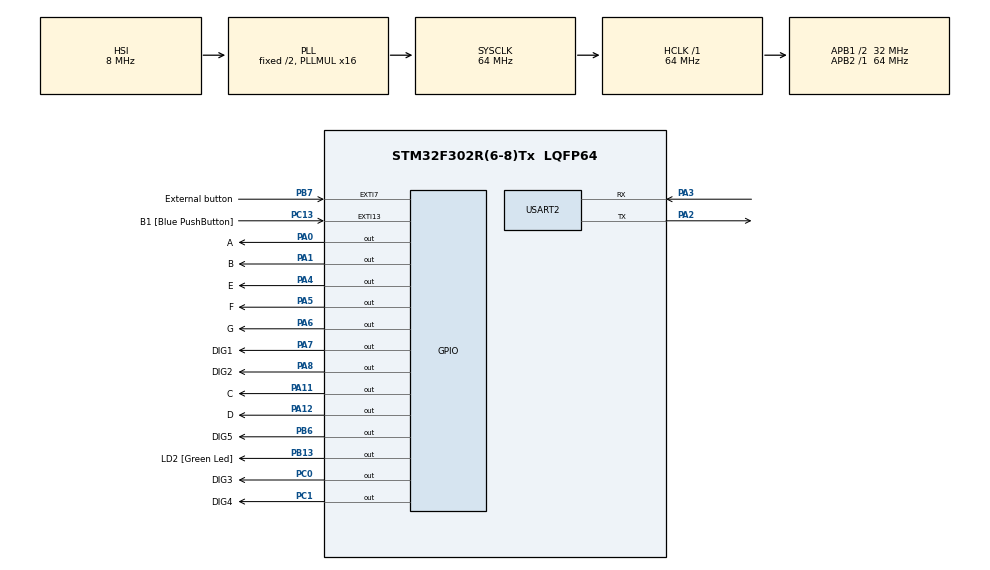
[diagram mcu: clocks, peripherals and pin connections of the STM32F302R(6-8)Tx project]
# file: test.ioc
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Mcu.Family=STM32F3
Mcu.Name=STM32F302R(6-8)Tx
Mcu.Package=LQFP64
NVIC.EXTI9_5_IRQn=true\:0\:0\:false\:false\:true\:true\:true
NVIC.PriorityGroup=NVIC_PRIORITYGROUP_0
NVIC.RTC_Alarm_IRQn=true\:0\:0\:false\:false\:true\:true\:true
NVIC.TIM2_IRQn=true\:0\:0\:false\:false\:true\:true\:true
PA0.GPIO_Label=A
PA0.Signal=GPIO_Output
PA1.GPIO_Label=B
PA1.Signal=GPIO_Output
PA11.GPIO_Label=C
PA11.Signal=GPIO_Output
PA12.GPIO_Label=D
PA12.Signal=GPIO_Output
PA13.GPIO_Label=TMS
PA13.Mode=Trace_Asynchronous_SW
PA13.Signal=SYS_JTMS-SWDIO
PA14.GPIO_Label=TCK
PA14.Mode=Trace_Asynchronous_SW
PA14.Signal=SYS_JTCK-SWCLK
PA2.Mode=Asynchronous
PA2.Signal=USART2_TX
PA3.Mode=Asynchronous
PA3.Signal=USART2_RX
PA4.GPIO_Label=E
PA4.Signal=GPIO_Output
PA5.GPIO_Label=F
PA5.Signal=GPIO_Output
PA6.GPIO_Label=G
PA6.Signal=GPIO_Output
PA7.GPIO_Label=DIG1
PA7.Signal=GPIO_Output
PA8.GPIO_Label=DIG2
PA8.Signal=GPIO_Output
PB13.GPIO_Label=LD2 [Green Led]
PB13.Signal=GPIO_Output
PB3.GPIO_Label=SWO
PB3.Mode=Trace_Asynchronous_SW
PB3.Signal=SYS_JTDO-TRACESWO
PB6.GPIO_Label=DIG5
PB6.Signal=GPIO_Output
PB7.GPIO_Label=External button
PB7.Signal=GPXTI7
PC0.GPIO_Label=DIG3
PC0.Signal=GPIO_Output
PC1.GPIO_Label=DIG4
PC1.Signal=GPIO_Output
PC13.GPIO_Label=B1 [Blue PushButton]
PC13.Signal=GPXTI13
PC14\ -\ OSC32_IN.Mode=LSE-External-Oscillator
PC14\ -\ OSC32_IN.Signal=RCC_OSC32_IN
PC15\ -\ OSC32_OUT.Mode=LSE-External-Oscillator
PC15\ -\ OSC32_OUT.Signal=RCC_OSC32_OUT
PF0-OSC_IN.Mode=HSE-External-Clock-Source
PF0-OSC_IN.Signal=RCC_OSC_IN
PF1-OSC_OUT.Signal=RCC_OSC_OUT
ProjectManager.HeapSize=0x200
ProjectManager.StackSize=0x400
ProjectManager.TargetToolchain=STM32CubeIDE
RCC.AHBFreq_Value=64000000
RCC.APB1CLKDivider=RCC_HCLK_DIV2
RCC.APB1Freq_Value=32000000
RCC.APB1TimFreq_Value=64000000
RCC.APB2Freq_Value=64000000
RCC.APB2TimFreq_Value=64000000
RCC.CortexFreq_Value=64000000
RCC.HCLKFreq_Value=64000000
RCC.HSE_VALUE=8000000
RCC.HSI_VALUE=8000000
RCC.PLLM=8
RCC.PLLMUL=RCC_PLL_MUL16
RCC.PLLN=336
RCC.PLLP=RCC_PLLP_DIV4
RCC.PLLQ=7
RCC.RCC_PLLsource_Clock_Source_FROM_HSE=RCC_HSE_PREDIV_DIV2
RCC.RTCClockSelection=RCC_RTCCLKSOURCE_LSE
RCC.SYSCLKFreq_VALUE=64000000
RCC.SYSCLKSourceVirtual=RCC_SYSCLKSOURCE_PLLCLK
RCC.USBFreq_Value=64000000
RTC.Alarm-Alarm\ A=RTC_ALARM_A
RTC.AlarmDateWeekDay-Alarm\ A=1
RTC.AlarmDateWeekDaySel-Alarm\ A=RTC_ALARMDATEWEEKDAYSEL_DATE
RTC.AlarmMaskDateWeekDay-Alarm\ A=RTC_ALARMMASK_DATEWEEKDAY
RTC.Minutes_A-Alarm\ A=5
RTC.Seconds_A-Alarm\ A=0
TIM2.AutoReloadPreload=TIM_AUTORELOAD_PRELOAD_ENABLE
TIM2.Period=2000
TIM2.Prescaler=320
TIM2.TIM_MasterOutputTrigger=TIM_TRGO_RESET
USART2.VirtualMode-Asynchronous=VM_ASYNC
VP_RTC_VS_RTC_Activate.Mode=RTC_Enabled
VP_RTC_VS_RTC_Alarm_A_Intern.Mode=Alarm A
VP_RTC_VS_RTC_Calendar.Mode=RTC_Calendar
VP_TIM2_VS_ClockSourceINT.Mode=Internal
board=NUCLEO-F302R8

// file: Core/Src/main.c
/* USER CODE BEGIN Header */
/**
 ******************************************************************************
 * @file           : main.c
 * @brief          : Main program body
 ******************************************************************************
 * @attention
 *
 * Copyright (c) 2022 STMicroelectronics.
 * All rights reserved.
 *
 * This software is licensed under terms that can be found in the LICENSE file
 * in the root directory of this software component.
 * If no LICENSE file comes with this software, it is provided AS-IS.
 *
 ******************************************************************************
 */
/* USER CODE END Header */
#include "main.h"

/* USER CODE BEGIN Includes */
#include "flash.h"

/* USER CODE END Includes */

/* USER CODE BEGIN PTD */
typedef enum
{
	init_s,
	day_set_s,
	month_set_s,
	yearunit_set_s,
	write_init_date_s,
	update_DIL_s,
	default_s
} state_t;

typedef struct{
	uint32_t Date;
	uint32_t Month;
	uint32_t Year;
} date_t;
/* USER CODE END PTD */

/* USER CODE BEGIN PD */

#define ADR_DATE 0x0800F800 //address (last page , page 31) of flash memory

#define TIM2_INTERRUPT_ENABLE(X) (TIM2->DIER = X)
#define LONG_CLICK 3
#define INTERMEDIATE_CLICK 2
#define SHORT_CLICK 1

#define RTC_ALARM_EVENT_MASK EXTI_EMR_EM17

// Button config

#define EXT_BUTTON_ITR_GROUP EXTI9_5_IRQn
#define EXT_BUTTON_ITR_MASK EXTI_IMR_IM7
#define EXT_BUTTON_EVENT_MASK EXTI_EMR_EM7
#define EXT_BUTTON_PORT GPIOB
#define EXT_BUTTON_PIN GPIO_PIN_7

// Segment display definitions
#define DIG1_PIN GPIO_PIN_7
#define DIG2_PIN GPIO_PIN_8
#define DIG3_PIN GPIO_PIN_0
#define DIG4_PIN GPIO_PIN_1
#define DIG5_PIN GPIO_PIN_6

#define DIG1_PORT GPIOA
#define DIG2_PORT GPIOA
#define DIG3_PORT GPIOC
#define DIG4_PORT GPIOC
#define DIG5_PORT GPIOB

#define ASEG_PIN GPIO_PIN_0
#define BSEG_PIN GPIO_PIN_1
#define CSEG_PIN GPIO_PIN_11
#define DSEG_PIN GPIO_PIN_12
#define ESEG_PIN GPIO_PIN_4
#define FSEG_PIN GPIO_PIN_5
#define GSEG_PIN GPIO_PIN_6

#define SEGMENT_PORT GPIOA

#define LIGHT_0 (ASEG_PIN | BSEG_PIN | CSEG_PIN | DSEG_PIN | ESEG_PIN | FSEG_PIN)
#define LIGHT_1 (BSEG_PIN | CSEG_PIN)
#define LIGHT_2 (ASEG_PIN | BSEG_PIN | DSEG_PIN | ESEG_PIN | GSEG_PIN)
#define LIGHT_3 (ASEG_PIN | BSEG_PIN | CSEG_PIN | DSEG_PIN | GSEG_PIN)
#define LIGHT_4 (BSEG_PIN | CSEG_PIN | FSEG_PIN | GSEG_PIN)
#define LIGHT_5 (ASEG_PIN | CSEG_PIN | DSEG_PIN | FSEG_PIN | GSEG_PIN)
#define LIGHT_6 (ASEG_PIN | CSEG_PIN | DSEG_PIN | ESEG_PIN | FSEG_PIN | GSEG_PIN)
#define LIGHT_7 (ASEG_PIN | BSEG_PIN | CSEG_PIN)
#define LIGHT_8 (ASEG_PIN | BSEG_PIN | CSEG_PIN | DSEG_PIN | ESEG_PIN | FSEG_PIN | GSEG_PIN)
#define LIGHT_9 (ASEG_PIN | BSEG_PIN | CSEG_PIN | DSEG_PIN | FSEG_PIN | GSEG_PIN)

//#define clk40khz
//#define debug_RTC
//#define debug_disp
#define hardware_debugger
//#define interrupt_debug
//#define rtc_alarm_debug
//#define flash_read_debug

/* USER CODE END PD */

RTC_HandleTypeDef hrtc;

TIM_HandleTypeDef htim2;

UART_HandleTypeDef huart2;

void SystemClock_Config(void);
static void MX_GPIO_Init(void);
static void MX_RTC_Init(void);
static void MX_TIM2_Init(void);
static void MX_USART2_UART_Init(void);
/* USER CODE BEGIN PFP */
void HAL_TIM_OC_DelayElapsedCallback(TIM_HandleTypeDef *htim);
void HAL_TIM_PeriodElapsedCallback(TIM_HandleTypeDef *htim);
void HAL_GPIO_EXTI_Callback(uint16_t GPIO_Pin);
static void light_digit(uint16_t digit, uint16_t num);
static uint16_t calc_DIL(date_t *date, date_t *meetup_date);
static void Configure_Sleep_Mode(uint16_t enable);
/* USER CODE END PFP */

/* USER CODE BEGIN 0 */

uint16_t debounce_val = 0;	// Helper variable for button debouncing
uint16_t sleep_mode_counter = 0;	// Helper variable for counting time till sleep
uint16_t SLEEP_MODE_ENABLE_FLAG = 0;	// Flag for enabling falling asleep (enables sleep counter)
uint16_t ENTER_SLEEPMODE_FLAG = 0;	// Flag for actually going to sleep
uint16_t click = 0;	// States (3 - LONG_CLICK, 2 - INTERMEDIATE_CLICK, 1 - SHORT_CLICK)
uint16_t shorter_click_flag = 0;	// Flag for cancelling long click after shorter time

void HAL_RTC_AlarmAEventCallback(RTC_HandleTypeDef* hrtc){
	// Calls every day
	#ifdef rtc_alarm_debug
		light_digit(2, 5);
	#endif

	// Refreshes sleep timer, wakes up and updates the day counter
	sleep_mode_counter = 0;
	ENTER_SLEEPMODE_FLAG = 0;
	Configure_Sleep_Mode(0);
	return;
}
void HAL_GPIO_EXTI_Callback(uint16_t GPIO_Pin)
{
	// Calls with button push when in sleep mode
	#ifdef interrupt_debug
		light_digit(2, 5);
	#endif

	// Refreshes sleep timer, wakes up and updates the day counter
	sleep_mode_counter = 0;
	ENTER_SLEEPMODE_FLAG = 0;
	Configure_Sleep_Mode(0);
	return;
}

static void Configure_Sleep_Mode(uint16_t enable)
{
	// Changes the behavior of button when in sleep mode
	// Sleep mode -> Button functions as GPIO interrupt
	// Normal mode -> Classic GPIO input
	GPIO_InitTypeDef GPIO_InitStruct = {0};

	if (enable)
	{
		/*Configure GPIO pin : PC13 */
		HAL_GPIO_DeInit(EXT_BUTTON_PORT, EXT_BUTTON_PIN);
		GPIO_InitStruct.Pin = EXT_BUTTON_PIN;
		GPIO_InitStruct.Mode = GPIO_MODE_IT_RISING;
		GPIO_InitStruct.Pull = GPIO_PULLDOWN;
		HAL_GPIO_Init(EXT_BUTTON_PORT, &GPIO_InitStruct);
		/* EXTI interrupt init*/
		HAL_NVIC_SetPriority(EXT_BUTTON_ITR_GROUP, 0, 0);
		HAL_NVIC_EnableIRQ(EXT_BUTTON_ITR_GROUP);

		//EXTI->IMR |= EXT_BUTTON_ITR_MASK;
		EXTI->EMR |= EXT_BUTTON_EVENT_MASK | RTC_ALARM_EVENT_MASK;

		TIM2_INTERRUPT_ENABLE(0);
		HAL_TIM_Base_Stop(&htim2);
		ENTER_SLEEPMODE_FLAG = 1;
		// SCB->SCR = SCB_SCR_SLEEPONEXIT_Pos;
		return;
	}
	SLEEP_MODE_ENABLE_FLAG = 0;
	/*Configure GPIO pin : PC13 */
	HAL_GPIO_DeInit(EXT_BUTTON_PORT, EXT_BUTTON_PIN);
	GPIO_InitStruct.Pin = EXT_BUTTON_PIN;
	GPIO_InitStruct.Mode = GPIO_MODE_INPUT;
	GPIO_InitStruct.Pull = GPIO_PULLDOWN;
	HAL_GPIO_Init(EXT_BUTTON_PORT, &GPIO_InitStruct);

	HAL_NVIC_DisableIRQ(EXT_BUTTON_ITR_GROUP);
	TIM2_INTERRUPT_ENABLE(1);
	HAL_TIM_Base_Start(&htim2);
	return;
}

void HAL_TIM_PeriodElapsedCallback(TIM_HandleTypeDef *htim)
{
	// Timer2 callback (only one used)
	if ((EXT_BUTTON_PORT->IDR &  EXT_BUTTON_PIN))
	{
		// Long click
		if (debounce_val > 1500)
		{
			click = 3;
			debounce_val = 0;
			return;
		}
		// Shorter clicks for setting the dates
		if (shorter_click_flag && debounce_val > 500){
			click = 3;
			debounce_val = 0;
			return;
		}
		debounce_val++;
		return;
	}
	// Intermediate click
	if (debounce_val > 500){
		click = 2;
		debounce_val = 0;
		return;
	}
	// Debouncer
	if (debounce_val < 10)
	{
		if (SLEEP_MODE_ENABLE_FLAG)
			sleep_mode_counter++;
		if (sleep_mode_counter > 2000)
		{
			Configure_Sleep_Mode(1);
		}
		debounce_val = 0;
		return;
	}
	// Short click (default after debouncing)
	click = 1;
	debounce_val = 0;
	return;
}

static uint16_t countLeapYears(uint8_t y, uint8_t m)
{
	uint16_t years = y;
	// Check if the current year needs to be
	//  considered for the count of leap years
	// or not
	if (m <= 2)
		years--;
	// An year is a leap year if it
	// is a multiple of 4,
	// multiple of 400 and not a
	// multiple of 100.
	return years / 4 - years / 100 + years / 400;
}

static uint16_t calc_DIL(date_t *date, date_t *meetup_date)
{
	const uint8_t month_days[12] = {31, 28, 31, 30, 31, 30,
									31, 31, 30, 31, 30, 31};
	// COUNT TOTAL NUMBER OF DAYS
	// BEFORE FIRST DATE 'dt1'
	// initialize count using years and day
	uint16_t n1 = date->Year * 365 + date->Date;
	// Add days for months in given date
	for (int i = 0; i < date->Month - 1; i++)
		n1 += month_days[i];
	// Since every leap year is of 366 days,
	// Add a day for every leap year
	n1 += countLeapYears(date->Year, date->Month);
	// SIMILARLY, COUNT TOTAL NUMBER OF
	// DAYS BEFORE 'dt2'
	uint16_t n2 = meetup_date->Year * 365 + meetup_date->Date;
	for (int i = 0; i < meetup_date->Month - 1; i++)
		n2 += month_days[i];
	n2 += countLeapYears(meetup_date->Year, meetup_date->Month);
	// return difference between two counts
	return (n1 - n2);
}

static void light_digit(uint16_t digit, uint16_t num)
{
	// All pins need to be remapped in definition above when changing layout

	// Turn off all digits
	HAL_GPIO_WritePin(DIG1_PORT, DIG1_PIN, 1);
	HAL_GPIO_WritePin(DIG2_PORT, DIG2_PIN, 1);
	HAL_GPIO_WritePin(DIG3_PORT, DIG3_PIN, 1);
	HAL_GPIO_WritePin(DIG4_PORT, DIG4_PIN, 1);
	HAL_GPIO_WritePin(DIG5_PORT, DIG5_PIN, 1);
	switch (digit)
	{
		// Turn on corresponding digit
		case 0: HAL_GPIO_WritePin(DIG1_PORT, DIG1_PIN, 0); break;
		case 1: HAL_GPIO_WritePin(DIG2_PORT, DIG2_PIN, 0); break;
		case 2: HAL_GPIO_WritePin(DIG3_PORT, DIG3_PIN, 0); break;
		case 3: HAL_GPIO_WritePin(DIG4_PORT, DIG4_PIN, 0); break;
		default: HAL_GPIO_WritePin(DIG5_PORT, DIG5_PIN, 0); break;
	}
	// Turn off all segments
	HAL_GPIO_WritePin(SEGMENT_PORT, LIGHT_8, 0);
	switch (num)
	{
		// Turn on corresponding segments
		case 0:		HAL_GPIO_WritePin(SEGMENT_PORT, LIGHT_0, 1); break;
		case 1:		HAL_GPIO_WritePin(SEGMENT_PORT, LIGHT_1, 1); break;
		case 2:		HAL_GPIO_WritePin(SEGMENT_PORT, LIGHT_2, 1); break;
		case 3:		HAL_GPIO_WritePin(SEGMENT_PORT, LIGHT_3, 1); break;
		case 4:		HAL_GPIO_WritePin(SEGMENT_PORT, LIGHT_4, 1); break;
		case 5:		HAL_GPIO_WritePin(SEGMENT_PORT, LIGHT_5, 1); break;
		case 6:		HAL_GPIO_WritePin(SEGMENT_PORT, LIGHT_6, 1); break;
		case 7:		HAL_GPIO_WritePin(SEGMENT_PORT, LIGHT_7, 1); break;
		case 8:		HAL_GPIO_WritePin(SEGMENT_PORT, LIGHT_8, 1); break;
		case 9:		HAL_GPIO_WritePin(SEGMENT_PORT, LIGHT_9, 1); break;
		case 10:	HAL_GPIO_WritePin(SEGMENT_PORT, 0, 1); break;
		default:	HAL_GPIO_WritePin(SEGMENT_PORT, LIGHT_0, 1); break;
	}
}

/* USER CODE END 0 */

int main(void)
{

  /* MCU Configuration--------------------------------------------------------*/

  /* Reset of all peripherals, Initializes the Flash interface and the Systick. */
  HAL_Init();

  /* Configure the system clock */
  SystemClock_Config();

  /* Initialize all configured peripherals */
  MX_GPIO_Init();
  MX_RTC_Init();
  MX_TIM2_Init();
  MX_USART2_UART_Init();
  /* USER CODE BEGIN 2 */
	// HAL_NVIC_EnableIRQ(TIM2_IRQn);
	TIM2_INTERRUPT_ENABLE(1);
	HAL_TIM_Base_Start(&htim2);

	// HAL_TIM_OC_Start(&htim2, TIM_CHANNEL_2);

  /* USER CODE END 2 */

  /* Infinite loop */
  /* USER CODE BEGIN WHILE */

	date_t date;	// Stands for current date
	date.Date = 1;
	date.Month = 1;
	date.Year = 0;
	RTC_DateTypeDef rtc_date;
	date_t meetup_date = {0};

	state_t cur_state = init_s;	// Main state machine state
	uint16_t digits[5];	// Variables to be displayed

	uint16_t FLASH_FLAG = 0;	// Flag for flashing all digits of display for a second
	uint16_t GET_MEETUP_DATE_FLAG = 0;	// Flag for determining if setting current or meetup date
	uint16_t GET_FIRST_DATE = 0;	// Flag for first setting of dates
	uint16_t DIL = 0;	// Variable for storing difference between dates
	uint16_t ANIVERSARY_FLAG = 0;	// Flag for lighting up display on anniversary

	uint16_t year = 1940;	// Intermediate variable for setting year
	uint16_t max_year = 0;	// Variable used to set limits for setting year

	//uint32_t fl_date[3] = {0};

	Flash_Read_Data(ADR_DATE, (uint32_t*)&meetup_date, 2);
	// Check for original (default) date
	if (meetup_date.Date == 1 && meetup_date.Month == 1 && meetup_date.Year == 40){
		GET_FIRST_DATE = 1;
	}

	#ifdef flash_read_debug
		date_t fl_date;
		fl_date.Date = 31;
		fl_date.Month = 12;
		fl_date.Year = 2033;

		Flash_Read_Data(ADR_DATE, (uint32_t*)&Rx_Data, 2);	//read 3 uin32_t number from last page of flash
		while (1){
			light_digit(1, Rx_Data.Date%10);
			HAL_Delay(500);
			light_digit(2, Rx_Data.Month%10);
			HAL_Delay(500);
			light_digit(3, Rx_Data.Year%10);
			HAL_Delay(500);
			if (click == LONG_CLICK) break;
		}
		Flash_Write_Data(ADR_DATE, (uint32_t*)&fl_date, 3); //write 3 uin32_t number from last page of flash
		Flash_Read_Data(ADR_DATE, (uint32_t*)&Rx_Data, 2);
		while (1){
			light_digit(0, Rx_Data.Date%10);
			HAL_Delay(500);
			light_digit(1, Rx_Data.Month%10);
			HAL_Delay(500);
			light_digit(2, Rx_Data.Year%10);
			HAL_Delay(500);
		}
	#endif

	#ifdef debug_disp
		while (1)
		{
			for (int i = 0; i < 5; i++)
			{
				light_digit(i+1, i+5);
				HAL_Delay(1000);
			}
		}
	#endif

	#ifdef clk40khz
		uint16_t init_DIL = 0;
	#endif

	#ifdef debug_RTC
		RTC_TimeTypeDef time = {0};
	#endif

	#ifdef interrupt_debug
		while (1);
	#endif
	#ifdef rtc_alarm_debug
		GPIOB->ODR = 0;
		GPIOA->ODR = 0;
		SCB->SCR |= SCB_SCR_SLEEPDEEP_Msk;
		__disable_irq();
		__SEV();
		__WFE();
		__WFE();
		SystemClock_Config();
		SCB->SCR &= ~SCB_SCR_SLEEPDEEP_Msk;
		__enable_irq();
		cur_state = update_DIL_s;
		while (1);
	#endif

	Configure_Sleep_Mode(0);
	while (1)
	{

		#ifdef debug_RTC

			HAL_RTC_GetTime(&hrtc, &time, RTC_FORMAT_BIN);
			HAL_RTC_GetDate(&hrtc, &rtc_date, RTC_FORMAT_BIN);

			digits[4] = time.SubSeconds % 10;
			digits[3] = time.SubSeconds / 10;
			digits[2] = time.Seconds % 10;
			digits[1] = time.Seconds / 10;

			for (int i = 0; i < 5; i++)
			{
				light_digit(i, digits[i]);
				HAL_Delay(1);
			}
			continue;
		#endif

		// Clear display (nothing is lighting up)
		for (int i = 0; i < 5; i++)
			digits[i] = 10;

		// GET_MEETUP_DATE_FLAG determines setting the meetup date vs current date

		switch (cur_state)
		{
		// Initial state -> lighting display to ones or eights depending on date setting
		case init_s:
			shorter_click_flag = 1;
		 	if (!GET_MEETUP_DATE_FLAG){
				for (int i = 0; i < 5; i++) digits[i] = 8;
			} else {
				for (int i = 0; i < 5; i++) digits[i] = 1;
			}
			if (click == LONG_CLICK)
			{
				FLASH_FLAG = 1;
				cur_state = day_set_s;
				click = 0;
			}
			break;
		// State for setting day of the month
		case day_set_s:
			shorter_click_flag = 1;
			switch (click)
			{
			case SHORT_CLICK:
				date.Date++;
				if (date.Date > 31)
					date.Date = 1;
				click = 0;
				break;
			case LONG_CLICK:
				if (GET_MEETUP_DATE_FLAG)
					meetup_date.Date = date.Date;
				cur_state = month_set_s;
				click = 0;
				FLASH_FLAG = 1;
				break;
			}
			digits[4] = date.Date % 10;
			digits[3] = date.Date / 10;
			digits[2] = 0;
			break;
		// State for setting month
		case month_set_s:
			switch (click)
			{
			case SHORT_CLICK:
				date.Month++;
				if (date.Month > 12)
					date.Month = 1;
				click = 0;
				break;
			case LONG_CLICK:
				if (GET_MEETUP_DATE_FLAG)
					meetup_date.Month = date.Month;
				cur_state = yearunit_set_s;
				click = 0;
				FLASH_FLAG = 1;
				break;
			}
			digits[4] = date.Month % 10;
			digits[3] = date.Month / 10;
			break;
		// State for configuring the year of meetup/current date
		case yearunit_set_s:
		  	// For current date you can choose between years 2022 and 2050
			// For meetup date you can choose between years 1980 and 2050
			if (GET_MEETUP_DATE_FLAG){
				year = 1980 + date.Year;
				max_year = 70;
			} else {
				year = 2022 + date.Year;
				max_year = 28;
			}
			switch (click)
			{
			case SHORT_CLICK:
				date.Year += 1;
				if (date.Year > max_year)
					date.Year = 0;
				click = 0;
				break;
			case LONG_CLICK:
				FLASH_FLAG = 1;
				cur_state = write_init_date_s;
				year += date.Year;
				date.Year = year - 1940;
				if (GET_MEETUP_DATE_FLAG)
					meetup_date.Year = date.Year;
				click = 0;
				break;
			}
			digits[4] = year % 10;
			digits[3] = (year % 100) / 10;
			digits[2] = (year % 1000) / 100;
			digits[1] = (year) / 1000;
			break;
		// Writing the configured current date to RTC
		// or the meetup date to flash memory
		case write_init_date_s:
			shorter_click_flag = 0;
			if (GET_MEETUP_DATE_FLAG)
			{
				GET_MEETUP_DATE_FLAG = 0;
				cur_state = update_DIL_s;
				Flash_Write_Data(ADR_DATE, (uint32_t*)&meetup_date, 3);
				break;
			}
			rtc_date.Date = date.Date;
			rtc_date.Month = date.Month;
			rtc_date.Year = date.Year;
			// Initialize RTC
			HAL_RTC_SetDate(&hrtc, &rtc_date, RTC_FORMAT_BIN);
			cur_state = update_DIL_s;
			// First setting of date
			if (GET_FIRST_DATE){
				click = 0;
				FLASH_FLAG = 1;
				GET_MEETUP_DATE_FLAG = 1;
				date.Date = 1;
				date.Month = 1;
				date.Year = 0;
				SLEEP_MODE_ENABLE_FLAG = 0;
				cur_state = day_set_s;
				GET_FIRST_DATE = 0;
			}
			break;
		// State for calculating the date difference
		case update_DIL_s:
			HAL_RTC_GetDate(&hrtc, &rtc_date, RTC_FORMAT_BIN);
			date.Date = rtc_date.Date;
			date.Month = rtc_date.Month;
			date.Year = rtc_date.Year;
			DIL = calc_DIL(&date, &meetup_date);
			if (date.Date == meetup_date.Date && date.Month == meetup_date.Month){
				ANIVERSARY_FLAG = 1;
			} else {
				ANIVERSARY_FLAG = 0;
			}
			FLASH_FLAG = 1;

			#ifdef clk40khz
				if (init_DIL)
				{
					DIL = init_DIL + (uint16_t)round(32.768f / 40.0f * calc_DIL(&date, &meetup_date));
				}
				else
				{
					init_DIL = calc_DIL(&date, &meetup_date);
					meetup_date = date;
				}
			#endif

			cur_state = default_s;
			break;
		// Default state
		// Waiting to fall asleep or changing of the meetup/current date
		case default_s:
			digits[4] = DIL % 10;
			digits[3] = (DIL % 100) / 10;
			digits[2] = (DIL % 1000) / 100;
			digits[1] = (DIL % 10000) / 1000;
			digits[0] = (DIL) / 10000;
			if (ANIVERSARY_FLAG){
				if (click == SHORT_CLICK){
					click = 0;
					ANIVERSARY_FLAG = 0;
					Configure_Sleep_Mode(1);
					ENTER_SLEEPMODE_FLAG = 1;
				}
				SLEEP_MODE_ENABLE_FLAG = 0;
			} else {
				SLEEP_MODE_ENABLE_FLAG = 1;
			}
			if (click == LONG_CLICK)
			{
				click = 0;
				FLASH_FLAG = 1;
				GET_MEETUP_DATE_FLAG = 1;
				date.Date = 1;
				date.Month = 1;
				date.Year = 0;
				SLEEP_MODE_ENABLE_FLAG = 0;
				cur_state = day_set_s;

				#ifdef clk40khz
					init_DIL = 0;
				#endif
			} else if (click == INTERMEDIATE_CLICK){
				click = 0;
				FLASH_FLAG = 1;
				GET_MEETUP_DATE_FLAG = 0;
				date.Date = 1;
				date.Month = 1;
				date.Year = 0;
				SLEEP_MODE_ENABLE_FLAG = 0;
				cur_state = day_set_s;

			}
			break;
		}

		// Light up display for a second
		//if (FLASH_FLAG)
		//{
		//	if (GET_MEETUP_DATE_FLAG){
		//		HAL_GPIO_WritePin(SEGMENT_PORT, LIGHT_8, 0);
		//		HAL_GPIO_WritePin(SEGMENT_PORT, LIGHT_1, 1);
		//		HAL_GPIO_WritePin(DIG1_PORT, DIG1_PIN, 0);
		//		HAL_GPIO_WritePin(DIG2_PORT, DIG2_PIN, 0);
		//		HAL_GPIO_WritePin(DIG3_PORT, DIG3_PIN, 0);
		//		HAL_GPIO_WritePin(DIG4_PORT, DIG4_PIN, 0);
		//		HAL_GPIO_WritePin(DIG5_PORT, DIG5_PIN, 0);
		//	} else {
		//		HAL_GPIO_WritePin(SEGMENT_PORT, LIGHT_8, 1);
		//		HAL_GPIO_WritePin(DIG1_PORT, DIG1_PIN, 0);
		//		HAL_GPIO_WritePin(DIG2_PORT, DIG2_PIN, 0);
		//		HAL_GPIO_WritePin(DIG3_PORT, DIG3_PIN, 0);
		//		HAL_GPIO_WritePin(DIG4_PORT, DIG4_PIN, 0);
		//		HAL_GPIO_WritePin(DIG5_PORT, DIG5_PIN, 0);
		//	}
		//	HAL_Delay(1000);
		//	// Reset wrongly registered clicks
		//	click = 0;
		//	FLASH_FLAG = 0;
		//}

		// Lighting display with digits variables
		for (int i = 0; i < 5; i++)
		{
			light_digit(i, digits[i]);
			HAL_Delay(1);
		}

		// Weird shit sleep mode config
		if (ENTER_SLEEPMODE_FLAG)
		{
			GPIOB->ODR = 0;
			GPIOA->ODR = 0;
			SCB->SCR |= SCB_SCR_SLEEPDEEP_Msk;
			__disable_irq();
			__SEV();
			__WFE();
			__WFE();
			SystemClock_Config();
			SCB->SCR &= ~SCB_SCR_SLEEPDEEP_Msk;
			__enable_irq();
			cur_state = update_DIL_s;
		}

    /* USER CODE END WHILE */

	}
}

void SystemClock_Config(void)
{
  RCC_OscInitTypeDef RCC_OscInitStruct = {0};
  RCC_ClkInitTypeDef RCC_ClkInitStruct = {0};
  RCC_PeriphCLKInitTypeDef PeriphClkInit = {0};

  /** Configure LSE Drive Capability
  */
  HAL_PWR_EnableBkUpAccess();
  __HAL_RCC_LSEDRIVE_CONFIG(RCC_LSEDRIVE_LOW);
  /** Initializes the RCC Oscillators according to the specified parameters
  * in the RCC_OscInitTypeDef structure.
  */
  RCC_OscInitStruct.OscillatorType = RCC_OSCILLATORTYPE_HSI|RCC_OSCILLATORTYPE_LSE;
  RCC_OscInitStruct.LSEState = RCC_LSE_ON;
  RCC_OscInitStruct.HSIState = RCC_HSI_ON;
  RCC_OscInitStruct.HSICalibrationValue = RCC_HSICALIBRATION_DEFAULT;
  RCC_OscInitStruct.PLL.PLLState = RCC_PLL_ON;
  RCC_OscInitStruct.PLL.PLLSource = RCC_PLLSOURCE_HSI;
  RCC_OscInitStruct.PLL.PLLMUL = RCC_PLL_MUL16;
  if (HAL_RCC_OscConfig(&RCC_OscInitStruct) != HAL_OK)
  {
    Error_Handler();
  }
  /** Initializes the CPU, AHB and APB buses clocks
  */
  RCC_ClkInitStruct.ClockType = RCC_CLOCKTYPE_HCLK|RCC_CLOCKTYPE_SYSCLK
                              |RCC_CLOCKTYPE_PCLK1|RCC_CLOCKTYPE_PCLK2;
  RCC_ClkInitStruct.SYSCLKSource = RCC_SYSCLKSOURCE_PLLCLK;
  RCC_ClkInitStruct.AHBCLKDivider = RCC_SYSCLK_DIV1;
  RCC_ClkInitStruct.APB1CLKDivider = RCC_HCLK_DIV2;
  RCC_ClkInitStruct.APB2CLKDivider = RCC_HCLK_DIV1;

  if (HAL_RCC_ClockConfig(&RCC_ClkInitStruct, FLASH_LATENCY_2) != HAL_OK)
  {
    Error_Handler();
  }
  PeriphClkInit.PeriphClockSelection = RCC_PERIPHCLK_RTC;
  PeriphClkInit.RTCClockSelection = RCC_RTCCLKSOURCE_LSE;
  if (HAL_RCCEx_PeriphCLKConfig(&PeriphClkInit) != HAL_OK)
  {
    Error_Handler();
  }
}

static void MX_RTC_Init(void)
{

  RTC_TimeTypeDef sTime = {0};
  RTC_DateTypeDef sDate = {0};
  RTC_AlarmTypeDef sAlarm = {0};

  /** Initialize RTC Only
  */
  hrtc.Instance = RTC;
  hrtc.Init.HourFormat = RTC_HOURFORMAT_24;
  hrtc.Init.AsynchPrediv = 127;
  hrtc.Init.SynchPrediv = 255;
  hrtc.Init.OutPut = RTC_OUTPUT_DISABLE;
  hrtc.Init.OutPutPolarity = RTC_OUTPUT_POLARITY_HIGH;
  hrtc.Init.OutPutType = RTC_OUTPUT_TYPE_OPENDRAIN;
  if (HAL_RTC_Init(&hrtc) != HAL_OK)
  {
    Error_Handler();
  }

  /** Initialize RTC and set the Time and Date
  */
  sTime.Hours = 0x0;
  sTime.Minutes = 0x0;
  sTime.Seconds = 0x0;
  sTime.DayLightSaving = RTC_DAYLIGHTSAVING_NONE;
  sTime.StoreOperation = RTC_STOREOPERATION_RESET;
  if (HAL_RTC_SetTime(&hrtc, &sTime, RTC_FORMAT_BCD) != HAL_OK)
  {
    Error_Handler();
  }
  sDate.WeekDay = RTC_WEEKDAY_MONDAY;
  sDate.Month = RTC_MONTH_JANUARY;
  sDate.Date = 0x1;
  sDate.Year = 0x0;

  if (HAL_RTC_SetDate(&hrtc, &sDate, RTC_FORMAT_BCD) != HAL_OK)
  {
    Error_Handler();
  }
  /** Enable the Alarm A
  */
  sAlarm.AlarmTime.Hours = 0x0;
  sAlarm.AlarmTime.Minutes = 0x5;
  sAlarm.AlarmTime.Seconds = 0x0;
  sAlarm.AlarmTime.SubSeconds = 0x0;
  sAlarm.AlarmTime.DayLightSaving = RTC_DAYLIGHTSAVING_NONE;
  sAlarm.AlarmTime.StoreOperation = RTC_STOREOPERATION_RESET;
  sAlarm.AlarmMask = RTC_ALARMMASK_DATEWEEKDAY;
  sAlarm.AlarmSubSecondMask = RTC_ALARMSUBSECONDMASK_ALL;
  sAlarm.AlarmDateWeekDaySel = RTC_ALARMDATEWEEKDAYSEL_DATE;
  sAlarm.AlarmDateWeekDay = 0x1;
  sAlarm.Alarm = RTC_ALARM_A;
  if (HAL_RTC_SetAlarm_IT(&hrtc, &sAlarm, RTC_FORMAT_BCD) != HAL_OK)
  {
    Error_Handler();
  }

}

static void MX_TIM2_Init(void)
{

  TIM_ClockConfigTypeDef sClockSourceConfig = {0};
  TIM_MasterConfigTypeDef sMasterConfig = {0};

  htim2.Instance = TIM2;
  htim2.Init.Prescaler = 320;
  htim2.Init.CounterMode = TIM_COUNTERMODE_UP;
  htim2.Init.Period = 2000;
  htim2.Init.ClockDivision = TIM_CLOCKDIVISION_DIV1;
  htim2.Init.AutoReloadPreload = TIM_AUTORELOAD_PRELOAD_ENABLE;
  if (HAL_TIM_Base_Init(&htim2) != HAL_OK)
  {
    Error_Handler();
  }
  sClockSourceConfig.ClockSource = TIM_CLOCKSOURCE_INTERNAL;
  if (HAL_TIM_ConfigClockSource(&htim2, &sClockSourceConfig) != HAL_OK)
  {
    Error_Handler();
  }
  sMasterConfig.MasterOutputTrigger = TIM_TRGO_RESET;
  sMasterConfig.MasterSlaveMode = TIM_MASTERSLAVEMODE_DISABLE;
  if (HAL_TIMEx_MasterConfigSynchronization(&htim2, &sMasterConfig) != HAL_OK)
  {
    Error_Handler();
  }

}

static void MX_USART2_UART_Init(void)
{

  huart2.Instance = USART2;
  huart2.Init.BaudRate = 38400;
  huart2.Init.WordLength = UART_WORDLENGTH_8B;
  huart2.Init.StopBits = UART_STOPBITS_1;
  huart2.Init.Parity = UART_PARITY_NONE;
  huart2.Init.Mode = UART_MODE_TX_RX;
  huart2.Init.HwFlowCtl = UART_HWCONTROL_NONE;
  huart2.Init.OverSampling = UART_OVERSAMPLING_16;
  huart2.Init.OneBitSampling = UART_ONE_BIT_SAMPLE_DISABLE;
  huart2.AdvancedInit.AdvFeatureInit = UART_ADVFEATURE_NO_INIT;
  if (HAL_UART_Init(&huart2) != HAL_OK)
  {
    Error_Handler();
  }

}

static void MX_GPIO_Init(void)
{
  GPIO_InitTypeDef GPIO_InitStruct = {0};

  /* GPIO Ports Clock Enable */
  __HAL_RCC_GPIOC_CLK_ENABLE();
  __HAL_RCC_GPIOF_CLK_ENABLE();
  __HAL_RCC_GPIOA_CLK_ENABLE();
  __HAL_RCC_GPIOB_CLK_ENABLE();

  /*Configure GPIO pin Output Level */
  HAL_GPIO_WritePin(GPIOC, DIG3_Pin|DIG4_Pin, GPIO_PIN_RESET);

  /*Configure GPIO pin Output Level */
  HAL_GPIO_WritePin(GPIOA, A_Pin|B_Pin|E_Pin|F_Pin
                          |G_Pin|DIG1_Pin|DIG2_Pin|C_Pin
                          |D_Pin, GPIO_PIN_RESET);

  /*Configure GPIO pin Output Level */
  HAL_GPIO_WritePin(GPIOB, LD2_Pin|DIG5_Pin, GPIO_PIN_RESET);

  /*Configure GPIO pin : B1_Pin */
  GPIO_InitStruct.Pin = B1_Pin;
  GPIO_InitStruct.Mode = GPIO_MODE_IT_RISING;
  GPIO_InitStruct.Pull = GPIO_NOPULL;
  HAL_GPIO_Init(B1_GPIO_Port, &GPIO_InitStruct);

  /*Configure GPIO pins : DIG3_Pin DIG4_Pin */
  GPIO_InitStruct.Pin = DIG3_Pin|DIG4_Pin;
  GPIO_InitStruct.Mode = GPIO_MODE_OUTPUT_PP;
  GPIO_InitStruct.Pull = GPIO_NOPULL;
  GPIO_InitStruct.Speed = GPIO_SPEED_FREQ_LOW;
  HAL_GPIO_Init(GPIOC, &GPIO_InitStruct);

  /*Configure GPIO pins : A_Pin B_Pin E_Pin F_Pin
                           G_Pin DIG1_Pin DIG2_Pin C_Pin
                           D_Pin */
  GPIO_InitStruct.Pin = A_Pin|B_Pin|E_Pin|F_Pin
                          |G_Pin|DIG1_Pin|DIG2_Pin|C_Pin
                          |D_Pin;
  GPIO_InitStruct.Mode = GPIO_MODE_OUTPUT_PP;
  GPIO_InitStruct.Pull = GPIO_NOPULL;
  GPIO_InitStruct.Speed = GPIO_SPEED_FREQ_LOW;
  HAL_GPIO_Init(GPIOA, &GPIO_InitStruct);

  /*Configure GPIO pins : LD2_Pin DIG5_Pin */
  GPIO_InitStruct.Pin = LD2_Pin|DIG5_Pin;
  GPIO_InitStruct.Mode = GPIO_MODE_OUTPUT_PP;
  GPIO_InitStruct.Pull = GPIO_NOPULL;
  GPIO_InitStruct.Speed = GPIO_SPEED_FREQ_LOW;
  HAL_GPIO_Init(GPIOB, &GPIO_InitStruct);

  /*Configure GPIO pin : External_button_Pin */
  GPIO_InitStruct.Pin = External_button_Pin;
  GPIO_InitStruct.Mode = GPIO_MODE_IT_RISING;
  GPIO_InitStruct.Pull = GPIO_NOPULL;
  HAL_GPIO_Init(External_button_GPIO_Port, &GPIO_InitStruct);

  /* EXTI interrupt init*/
  HAL_NVIC_SetPriority(EXTI9_5_IRQn, 0, 0);
  HAL_NVIC_EnableIRQ(EXTI9_5_IRQn);

}

void Error_Handler(void)
{
	__disable_irq();
	while (1)
	{
	}
}
